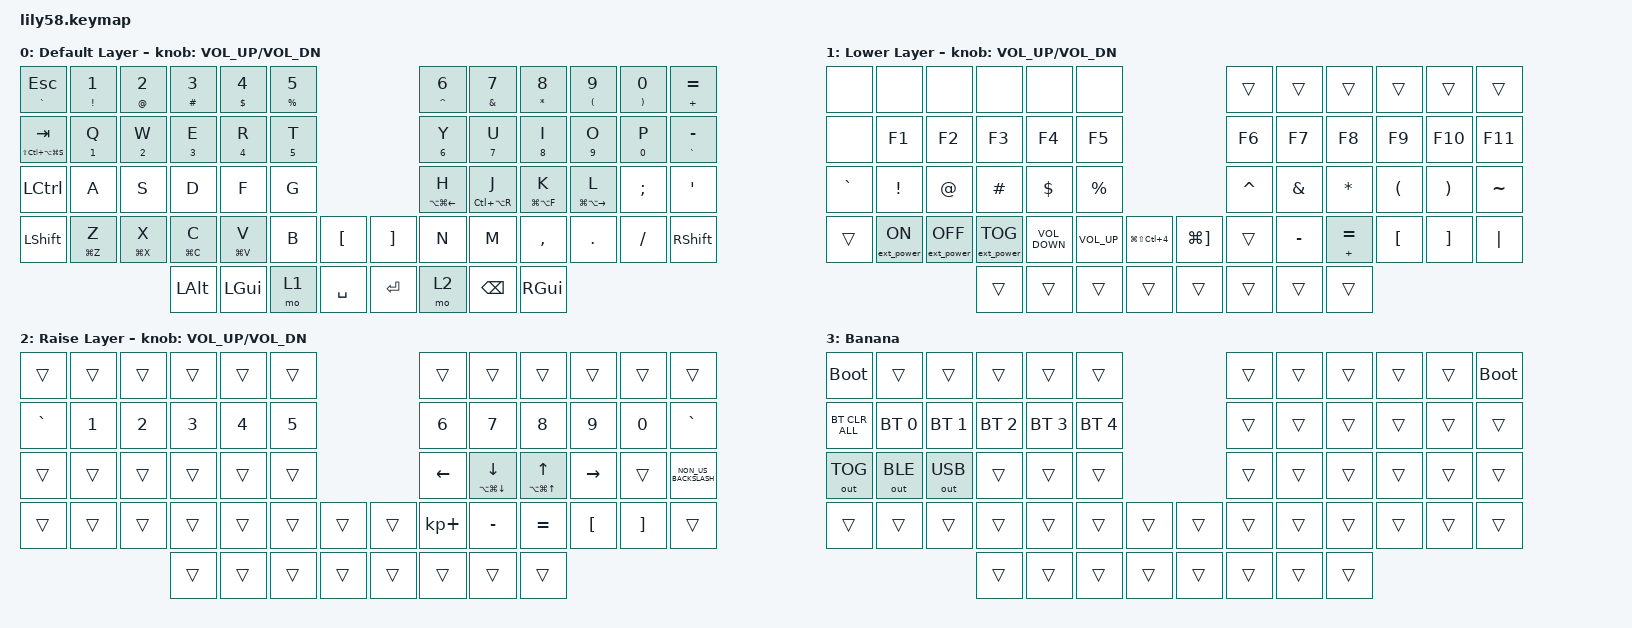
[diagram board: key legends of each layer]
/*
 * Copyright (c) 2020 The ZMK Contributors
 *
 * SPDX-License-Identifier: MIT
 */

#include <behaviors.dtsi>
#include <dt-bindings/zmk/bt.h>
#include <dt-bindings/zmk/ext_power.h>
#include <dt-bindings/zmk/keys.h>
#include <dt-bindings/zmk/outputs.h>

/ {
    macros {
        updir: updir {
            compatible = "zmk,behavior-macro";
            #binding-cells = <0>;
            bindings = <&kp DOT &kp DOT &kp FSLH>;
        };

        paren_pair: paren_pair {
            compatible = "zmk,behavior-macro";
            #binding-cells = <0>;
            bindings = <&kp LPAR &kp RPAR &kp LEFT>;
        };

        bracket_pair: bracket_pair {
            compatible = "zmk,behavior-macro";
            #binding-cells = <0>;
            bindings = <&kp LBKT &kp RBKT &kp LEFT>;
        };

        brace_pair: brace_pair {
            compatible = "zmk,behavior-macro";
            #binding-cells = <0>;
            bindings = <&kp LBRC &kp RBRC &kp LEFT>;
        };

        fat_arrow: fat_arrow {
            compatible = "zmk,behavior-macro";
            #binding-cells = <0>;
            bindings = <&kp EQUAL &kp GT>;
        };

        thin_arrow: thin_arrow {
            compatible = "zmk,behavior-macro";
            #binding-cells = <0>;
            bindings = <&kp MINUS &kp GT>;
        };

        m_the: m_the {
            compatible = "zmk,behavior-macro";
            #binding-cells = <0>;
            bindings = <&kp T &kp H &kp E &kp SPACE>;
        };

        pipe_op: pipe_op {
            compatible = "zmk,behavior-macro";
            #binding-cells = <0>;
            bindings = <&kp PIPE &kp GT>;
        };

        not_equal: not_equal {
            compatible = "zmk,behavior-macro";
            #binding-cells = <0>;
            bindings = <&kp EXCL &kp EQUAL>;
        };

        triple_eq: triple_eq {
            compatible = "zmk,behavior-macro";
            #binding-cells = <0>;
            bindings = <&kp EQUAL &kp EQUAL &kp EQUAL>;
        };
    };

    combos {
        compatible = "zmk,combos";

        tab_fwd {
            bindings = <&kp LS(LG(LC(NUMBER_4)))>;
            key-positions = <42 53>;
        };

        screenshot_record {
            bindings = <&kp LS(LG(NUMBER_5))>;
            key-positions = <43 54>;
        };

        browser_tab_left {
            bindings = <&kp LG(LS(LEFT_BRACKET))>;
            key-positions = <42 29>;
        };

        browser_tab_right {
            bindings = <&kp RG(RS(RIGHT_BRACKET))>;
            key-positions = <43 30>;
        };

        studio_unlock {
            bindings = <&studio_unlock>;
            key-positions = <0 11>;
        };

        combo_return {
            bindings = <&kp RETURN>;
            key-positions = <28 29>;
        };

        combo_esc {
            bindings = <&kp ESC>;
            key-positions = <31 32>;  // J+K on right home row
        };

        combo_delword {
            bindings = <&kp LA(BSPC)>;
            key-positions = <46 47>;  // comma+period for delete word
        };



        // Bracket pairs with cursor inside
        combo_parens {
            bindings = <&paren_pair>;
            key-positions = <19 31>;  // U+J vertical
        };

        combo_brackets {
            bindings = <&bracket_pair>;
            key-positions = <20 32>;  // I+K vertical
        };

        combo_braces {
            bindings = <&brace_pair>;
            key-positions = <21 33>;  // O+L vertical
        };

        // Programming operators
        combo_fat_arrow {
            bindings = <&fat_arrow>;
            key-positions = <33 34>;  // L+;  types =>
        };

        combo_thin_arrow {
            bindings = <&thin_arrow>;
            key-positions = <34 35>;  // ;+'  types ->
        };

        combo_pipe {
            bindings = <&pipe_op>;
            key-positions = <32 33>;  // K+L  types |>
        };


        // Caps word - both shifts
        combo_capsword {
            bindings = <&caps_word>;
            key-positions = <36 49>;  // LSHFT+RSHFT
        };


        // Delete word forward
        combo_delword_fwd {
            bindings = <&kp LA(DELETE)>;
            key-positions = <47 48>;  // .+/
        };
    };

    conditional_layers {
        compatible = "zmk,conditional-layers";

        tri_layer {
            if-layers = <1 2>;
            then-layer = <3>;
        };
    };

    behaviors {
        qwerty_holds: qwerty_holds {
            compatible = "zmk,behavior-hold-tap";
            label = "QWERTY_HOLDS";
            bindings = <&kp>, <&kp>;

            #binding-cells = <2>;
            tapping-term-ms = <300>;
            flavor = "balanced";
            hold-trigger-key-positions = <13>;
            require-prior-idle-ms = <150>;
        };
    };

    keymap {
        compatible = "zmk,keymap";

        default_layer {
            display-name = "Default Layer";

            // ------------------------------------------------------------------------------------------------------------
            // |  ESC  |  1  |  2  |  3   |  4   |  5   |                   |  6   |  7    |  8    |  9   |   0   |   `   |
            // |  TAB  |  Q  |  W  |  E   |  R   |  T   |                   |  Y   |  U    |  I    |  O   |   P   |   -   |
            // |  CTRL |  A  |  S  |  D   |  F   |  G   |                   |  H   |  J    |  K    |  L   |   ;   |   '   |
            // | SHIFT |  Z  |  X  |  C   |  V   |  B   |   "["  |  |  "]"  |  N   |  M    |  ,    |  .   |   /   | SHIFT |
            //                     | ALT  | GUI  | LOWER|  SPACE |  | ENTER | RAISE| BSPC  | GUI   |

            bindings = <
&qwerty_holds GRAVE ESCAPE           &qwerty_holds EXCLAMATION NUMBER_1  &qwerty_holds AT_SIGN NUMBER_2  &qwerty_holds HASH NUMBER_3  &qwerty_holds DOLLAR NUMBER_4  &qwerty_holds PERCENT N5                                         &qwerty_holds CARET NUMBER_6        &qwerty_holds AMPERSAND N7  &qwerty_holds ASTERISK N8  &qwerty_holds LEFT_PARENTHESIS N9    &qwerty_holds RIGHT_PARENTHESIS N0  &qwerty_holds PLUS EQUAL
&qwerty_holds LS(LC(LA(LG(S)))) TAB  &qwerty_holds NUMBER_1 Q            &qwerty_holds NUMBER_2 W        &qwerty_holds NUMBER_3 E     &qwerty_holds NUMBER_4 R       &qwerty_holds N5 T                                               &qwerty_holds NUMBER_6 Y            &qwerty_holds N7 U          &qwerty_holds N8 I         &qwerty_holds N9 O                   &qwerty_holds NUMBER_0 P            &qwerty_holds GRAVE MINUS
&kp LCTRL                            &kp A                               &kp S                           &kp D                        &kp F                          &kp G                                                            &qwerty_holds LA(LG(LEFT_ARROW)) H  &qwerty_holds LC(LA(R)) J   &qwerty_holds LG(LA(F)) K  &qwerty_holds LG(LA(RIGHT_ARROW)) L  &kp SEMI                            &kp SQT
&kp LSHFT                            &qwerty_holds LG(Z) Z               &qwerty_holds LG(X) X           &qwerty_holds LG(C) C        &qwerty_holds LG(V) V          &kp B                     &kp LEFT_BRACKET    &kp RIGHT_BRACKET  &kp N                               &kp M                       &kp COMMA                  &kp DOT                              &kp FSLH                            &kp RSHFT
                                                                                                         &kp LALT                     &kp LGUI                       &mo 1                     &kp SPACE           &kp RET            &mo 2                               &kp BSPC                    &kp RGUI
            >;

            sensor-bindings = <&inc_dec_kp C_VOL_UP C_VOL_DN>;
        };

        lower_layer {
            display-name = "Lower Layer";

            // ------------------------------------------------------------------------------------------------------------
            // | BTCLR | BT1 | BT2 |  BT3 |  BT4 |  BT5 |                   |      |       |       |      |       |       |
            // |  F1   |  F2 |  F3 |  F4  |  F5  |  F6  |                   |  F7  |  F8   |  F9   |  F10 |  F11  |  F12  |
            // |   `   |  !  |  @  |  #   |  $   |  %   |                   |  ^   |  &    |  *    |  (   |   )   |   ~   |
            // |       |     |     |      |      |      |        |  |       |      |  _    |  +    |  {   |   }   |  "|"  |
            //                     |      |      |      |        |  |       |      |       |       |

            bindings = <
&none      &none             &none              &none              &none              &none                                                               &trans     &trans     &trans          &trans            &trans             &trans
&none      &kp F1            &kp F2             &kp F3             &kp F4             &kp F5                                                              &kp F6     &kp F7     &kp F8          &kp F9            &kp F10            &kp F11
&kp GRAVE  &kp EXCL          &kp AT             &kp HASH           &kp DOLLAR         &kp PRCNT                                                           &kp CARET  &kp AMPS   &kp ASTRK       &kp LPAR          &kp RPAR           &kp TILDE
&trans     &ext_power EP_ON  &ext_power EP_OFF  &ext_power EP_TOG  &kp C_VOLUME_DOWN  &kp C_VOLUME_UP  &kp LG(LS(LC(NUMBER_4)))    &kp LG(RIGHT_BRACKET)  &trans     &kp MINUS  &mt PLUS EQUAL  &kp LEFT_BRACKET  &kp RIGHT_BRACKET  &kp PIPE
                                                &trans             &trans             &trans           &trans                      &trans                 &trans     &trans     &trans
            >;

            sensor-bindings = <&inc_dec_kp C_VOL_UP C_VOL_DN>;
        };

        raise_layer {
            display-name = "Raise Layer";

            // ------------------------------------------------------------------------------------------------------------
            // |       |     |     |      |      |      |                   |      |       |       |      |       |       |
            // |   `   |  1  |  2  |  3   |  4   |  5   |                   |  6   |   7   |   8   |  9   |   0   |       |
            // |   F1  |  F2 |  F3 |  F4  |  F5  |  F6  |                   |      |   <-  |   v   |  ^   |  ->   |       |
            // |   F7  |  F8 |  F9 |  F10 |  F11 |  F12 |        |  |       |  +   |   -   |   =   |  [   |   ]   |   \   |
            //                     |      |      |      |        |  |       |      |       |       |

            bindings = <
&trans     &trans  &trans  &trans  &trans  &trans                    &trans          &trans          &trans     &trans           &trans    &trans
&kp GRAVE  &kp N1  &kp N2  &kp N3  &kp N4  &kp N5                    &kp N6          &kp N7          &kp N8     &kp N9           &kp N0    &kp GRAVE
&trans     &trans  &trans  &trans  &trans  &trans                    &kp LEFT_ARROW  &qwerty_holds LA(LG(DOWN_ARROW)) DOWN_ARROW  &qwerty_holds LA(LG(UP_ARROW)) UP_ARROW     &kp RIGHT_ARROW  &trans    &kp NON_US_BACKSLASH
&trans     &trans  &trans  &trans  &trans  &trans  &trans    &trans  &kp KP_PLUS     &kp MINUS       &kp EQUAL  &kp LBKT         &kp RBKT  &trans
                           &trans  &trans  &trans  &trans    &trans  &trans          &trans          &trans
            >;

            sensor-bindings = <&inc_dec_kp C_VOL_UP C_VOL_DN>;
        };

        Super_Layer {
            display-name = "Banana";
            bindings = <
&bootloader     &trans        &trans        &trans        &trans        &trans                          &trans  &trans  &trans  &trans  &trans  &bootloader
&bt BT_CLR_ALL  &bt BT_SEL 0  &bt BT_SEL 1  &bt BT_SEL 2  &bt BT_SEL 3  &bt BT_SEL 4                    &trans  &trans  &trans  &trans  &trans  &trans
&out OUT_TOG    &out OUT_BLE  &out OUT_USB  &trans        &trans        &trans                          &trans  &trans  &trans  &trans  &trans  &trans
&trans          &trans        &trans        &trans        &trans        &trans        &trans    &trans  &trans  &trans  &trans  &trans  &trans  &trans
                                            &trans        &trans        &trans        &trans    &trans  &trans  &trans  &trans
            >;
        };
    };
};
